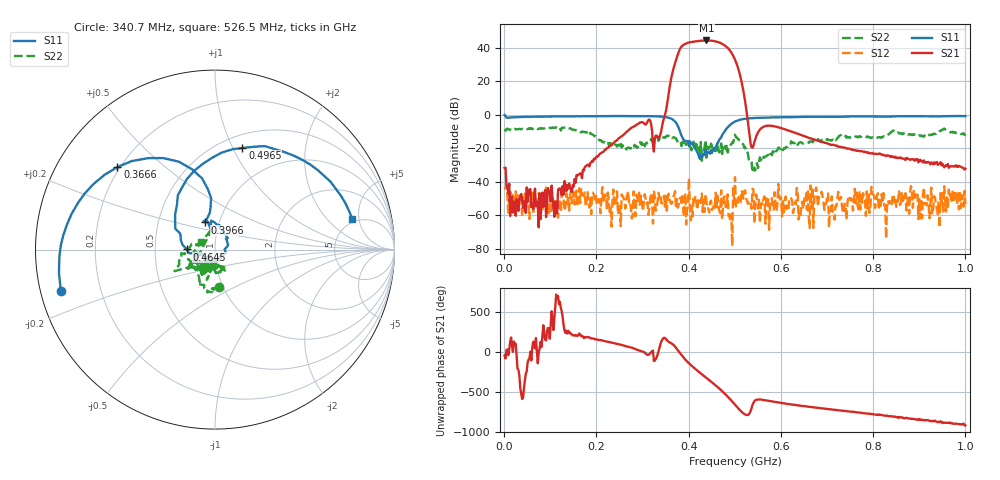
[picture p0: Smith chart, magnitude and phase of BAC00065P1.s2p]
!measured: 2026-10-27T15:16:31
!cal_instance: BBtestOct27
!cal_created: 2026-10-27T14:45
!cal_file: BBtesting.cal
!port1_delay_ps: -58.63
!port2_delay_ps: -59.31
!host: dhcp-10-250-247-203.harvard.edu
! Created with skrf 2.1.0 (http://scikit-rf.org).
# Hz S RI R 50.0
!freq ReS11 ImS11 ReS21 ImS21 ReS12 ImS12 ReS22 ImS22
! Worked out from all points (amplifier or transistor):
!   501 points, 1 MHz to 1 GHz, reference 50 ohm
!   highest |S21| = 44.5 dB at 438.6 MHz (marker M1)
!   |S21| within 3 dB of that: 387 MHz to 478.3 MHz (91.3 MHz wide, 21.1 % of centre)
!   unconditionally stable (mu >= 1): start of sweep to 400.1 MHz; 401.1 MHz to 470.5 MHz; 500.8 MHz to end of sweep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
!   at 166.8 MHz: K = 725.94, MAG = -27.4 dB, |S12| = -43.9 dB
!   at 500.5 MHz: K = 0.82, MSG = 35.2 dB, |S12| = -37.2 dB
!   at 1 GHz: K = 1294.17, MAG = -23.6 dB, |S12| = -53.3 dB
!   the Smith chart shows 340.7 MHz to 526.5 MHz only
!   S11 on the Smith chart (normalised r, x): 340.7 MHz: 0.06, -0.13; 366.6 MHz: 0.19, +0.35; 396.6 MHz: 0.85, +0.27; 464.5 MHz: 0.73, +0.00; 496.5 MHz: 0.63, +1.09; 526.5 MHz: 4.57, +4.04
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1000000  -0.397 0.917  0.0186 -0.0182  0.00323 0.00616  0.3715 -0.0468
1.68832e8  0.5094 -0.7529  -0.0119 -0.00482  -0.00106 -0.00402  -0.0237 -0.3167
3.34666e8  -0.8265 -0.3569  0.199 0.0235  -0.00399 -0.00251  0.0553 -0.1577
3.4066e8  -0.8593 -0.2304  -0.2077 0.2668  0.000787 0.00224  0.0221 -0.2059
3.66634e8  -0.5435 0.4599  -0.3524 22.94  0.00232 -0.00268  -0.0895 -0.1935
3.74626e8  -0.2014 0.4899  43.36 31.46  -0.00301 -0.000259  -0.0893 -0.1505
3.82618e8  -0.0216 0.2882  92.77 -42.17  -0.00292 -0.0017  -0.1341 -0.0796
3.96604e8  -0.057 0.1513  -69.57 -122.7  -0.000497 0.0014  -0.0924 -0.0997
4.04596e8  -0.00393 0.1528  -145.4 -42.52  3.01e-05 -0.000705  -0.0548 -0.0763
4.12588e8  0.0447 0.1017  -143 63.69  -0.000524 0.00255  -0.0806 -0.1132
4.26574e8  0.0228 -0.0427  -0.3493 165.4  -0.00224 -0.000597  -0.0756 -0.1361
4.38562e8  -0.0413 -0.0457  139.2 95.4  -0.00142 0.00204  0.0104 -0.0518
4.5055e8  -0.0681 -0.026  154.5 -59.29  -0.00125 0.000731  -0.00205 -0.1143
4.64536e8  -0.158 0.0011  1.745 -149.6  -0.00171 0.000881  -0.0319 -0.0887
4.78522e8  -0.212 0.2487  -114.1 -33.12  0.00214 -0.00285  0.0313 -0.1254
4.88512e8  -0.0677 0.478  -63.9 60.75  0.000583 -0.000783  -0.0433 -0.0983
4.96504e8  0.1532 0.5663  4.754 58.89  -0.0059 -0.00438  -0.1104 -0.0968
5.005e8  0.2768 0.5765  22.86 38.78  -0.00261 0.0135  -0.2255 -0.1202
5.26474e8  0.7646 0.1707  0.3358 -0.9641  0.00148 0.0023  -0.0785 0.0404
6.68332e8  0.1117 -0.8741  0.1679 0.0865  -0.00678 0.00197  0.0467 -0.1448
8.34166e8  -0.5595 -0.6976  0.00499 -0.0596  -0.00146 0.00168  -0.1573 -0.2168
1e9  -0.8755 -0.2903  -0.023 0.00903  -0.000595 -0.00208  -0.2279 -0.1476
